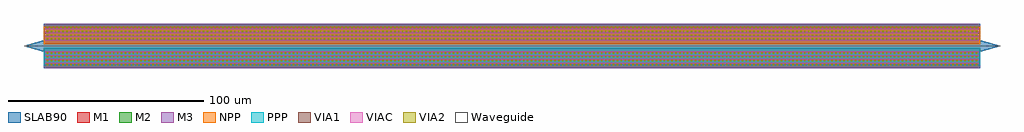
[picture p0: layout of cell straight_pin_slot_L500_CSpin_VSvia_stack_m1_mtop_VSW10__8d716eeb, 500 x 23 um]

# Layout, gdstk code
from math import pi, radians
import gdstk
lib = gdstk.Library(unit=1e-6, precision=1e-09)
def R(c, l, rs):  # rectangles x0, y0, x1, y1
    for r in rs: c.add(gdstk.rectangle(r[:2], r[2:], *l))
def P(c, l, *ps):  # polygons
    for p in ps: c.add(gdstk.Polygon(p, *l))
Waveguide = (1, 0)
SLAB90 = (3, 0)
NPP = (24, 0)
PPP = (25, 0)
VIAC = (40, 0)
M1 = (41, 0)
VIA2 = (43, 0)
VIA1 = (44, 0)
M2 = (45, 0)
M3 = (49, 0)

straight_gdsfactorypcomp = lib.new_cell('straight_gdsfactorypcomponentspwaveguidespstraight_L480_0775fb2d')
R(straight_gdsfactorypcomp, Waveguide, [(0,-0.25,480,0.25)])
R(straight_gdsfactorypcomp, SLAB90, [(0,-10,480,10)])
R(straight_gdsfactorypcomp, NPP, [(0,0.8,480,9.8)])
R(straight_gdsfactorypcomp, PPP, [(0,-9.8,480,-0.8)])

taper_strip_to_ridge_l10 = lib.new_cell('taper_strip_to_ridge_L10_W0p5_W0p5_WS0p15_WS6_LWWG_LSSL_90fffe9e')
R(taper_strip_to_ridge_l10, Waveguide, [(0,-0.25,10,0.25)])
P(taper_strip_to_ridge_l10, SLAB90, [(10,-3),(0,-0.075),(0,0.075),(10,3)])

compass_gdsfactorypcompo = lib.new_cell('compass_gdsfactorypcomponentspshapespcompass_S480_10_LM_6577179f')
R(compass_gdsfactorypcompo, M1, [(-240,-5,240,5)])

c_compass_gdsfactorypcompo = lib.new_cell('compass_gdsfactorypcomponentspshapespcompass_S480_10_LM_bf63c414')
R(c_compass_gdsfactorypcompo, M2, [(-240,-5,240,5)])

c_compass_gdsfactorypcompo_ = lib.new_cell('compass_gdsfactorypcomponentspshapespcompass_S480_10_LM_9d45dd62')
R(c_compass_gdsfactorypcompo_, M3, [(-240,-5,240,5)])

via1_s0p7_0p7_e1_lvia1_b = lib.new_cell('via1_S0p7_0p7_E1_LVIA1_BLNone_BO0_BONone_P2_CPNone_RPNone')
R(via1_s0p7_0p7_e1_lvia1_b, VIA1, [(-0.35,-0.35,0.35,0.35)])

via2_s0p7_0p7_e1_lvia2_b = lib.new_cell('via2_S0p7_0p7_E1_LVIA2_BLNone_BO0_BONone_P2_CPNone_RPNone')
R(via2_s0p7_0p7_e1_lvia2_b, VIA2, [(-0.35,-0.35,0.35,0.35)])

via_stack_m1_mtop_s480_1 = lib.new_cell('via_stack_m1_mtop_S480_10_LM1_M2_MTOP_LONone_Vvia1_via2_44d30ca5')
via_stack_m1_mtop_s480_1.add(gdstk.Reference(compass_gdsfactorypcompo, (0,0)))
via_stack_m1_mtop_s480_1.add(gdstk.Reference(c_compass_gdsfactorypcompo, (0,0)))
via_stack_m1_mtop_s480_1.add(gdstk.Reference(c_compass_gdsfactorypcompo_, (0,0)))
r = gdstk.Reference(via1_s0p7_0p7_e1_lvia1_b, (-238,-3)); r.repetition = gdstk.Repetition(239, 4, v1=(2,0), v2=(0,2)); via_stack_m1_mtop_s480_1.add(r)
r = gdstk.Reference(via2_s0p7_0p7_e1_lvia2_b, (-238,-3)); r.repetition = gdstk.Repetition(239, 4, v1=(2,0), v2=(0,2)); via_stack_m1_mtop_s480_1.add(r)

c_compass_gdsfactorypcompo__ = lib.new_cell('compass_gdsfactorypcomponentspshapespcompass_S480_10_LS_703b2ed8')
R(c_compass_gdsfactorypcompo__, SLAB90, [(-240,-5,240,5)])

c_compass_gdsfactorypcompo___ = lib.new_cell('compass_gdsfactorypcomponentspshapespcompass_S480_10_LM_fea1a3d5')
R(c_compass_gdsfactorypcompo___, M1, [(-240,-5,240,5)])

viac_s478_0p700000000000 = lib.new_cell('viac_S478_0p7000000000000001_E1_LVIAC_BLNone_BO0_BONone_76a5f39c')
R(viac_s478_0p700000000000, VIAC, [(-239,-0.35,239,0.35)])

via1_s478_0p700000000000 = lib.new_cell('via1_S478_0p7000000000000001_E1_LVIA1_BLNone_BO0_BONone_964e8d08')
R(via1_s478_0p700000000000, VIA1, [(-239,-0.35,239,0.35)])

via_stack_slab_m1_horizo = lib.new_cell('via_stack_slab_m1_horizontal_S480_10_LSLAB90_M1_LONone__af8a6109')
via_stack_slab_m1_horizo.add(gdstk.Reference(c_compass_gdsfactorypcompo__, (0,0)))
via_stack_slab_m1_horizo.add(gdstk.Reference(c_compass_gdsfactorypcompo___, (0,0)))
r = gdstk.Reference(viac_s478_0p700000000000, (0,-3)); r.repetition = gdstk.Repetition(1, 4, v1=(0,0), v2=(0,2)); via_stack_slab_m1_horizo.add(r)
r = gdstk.Reference(via1_s478_0p700000000000, (0,-3)); r.repetition = gdstk.Repetition(1, 4, v1=(0,0), v2=(0,2)); via_stack_slab_m1_horizo.add(r)

straight_pin_slot_l500_c = lib.new_cell('straight_pin_slot_L500_CSpin_VSvia_stack_m1_mtop_VSW10__8d716eeb')
straight_pin_slot_l500_c.add(gdstk.Reference(straight_gdsfactorypcomp, (0,0)))
straight_pin_slot_l500_c.add(gdstk.Reference(taper_strip_to_ridge_l10, (-10,0)))
straight_pin_slot_l500_c.add(gdstk.Reference(taper_strip_to_ridge_l10, (490,0), rotation=pi))
straight_pin_slot_l500_c.add(gdstk.Reference(via_stack_m1_mtop_s480_1, (240,6.5)))
straight_pin_slot_l500_c.add(gdstk.Reference(via_stack_m1_mtop_s480_1, (240,-6.5)))
straight_pin_slot_l500_c.add(gdstk.Reference(via_stack_slab_m1_horizo, (240,6)))
straight_pin_slot_l500_c.add(gdstk.Reference(via_stack_slab_m1_horizo, (240,-6)))

lib.write_gds('straight_pin_slot_L500_CSpin_VSvia_stack_m1_mtop_VSW10__8d716eeb.gds')
